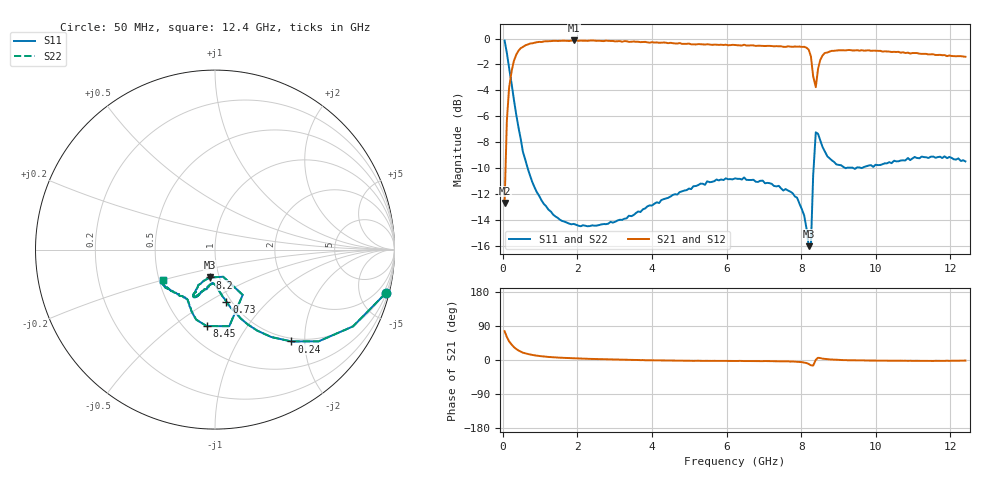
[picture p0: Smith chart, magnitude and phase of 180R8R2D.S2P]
!  American Technical Ceramics  Date:  3/13/98
!  One Norden Lane
!  Huntington Station,  NY.  11746-2102
!  Tel:  (516) 547-5700  Fax:  (516) 547-5748
!  Part Number  180r8r2d
!  Description: Porcelain, High Q, Low ESR
!  Application: Bypass, Coupling, Timing, Feedback
!  Tuning, Impedance Match, Blocking
# GHZ S DB R 50
! Freq  |S11|  S11 Ph  |S21|  S21 Ph  |S12|  S12 Ph  |S22|  S22 Ph
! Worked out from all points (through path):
!   201 points, 50 MHz to 12.4 GHz, reference 50 ohm
!   highest |S21| = -0.15 dB at 1.9 GHz (marker M1); lowest = -12.7 dB at 50 MHz (marker M2)
!   group delay of S21, straight-line fit = 4.15 ps
!   lowest |S11| = -16.0 dB at 8.2 GHz (marker M3), VSWR 1.37, Z = 45.1 - j14.4 ohm
!   |S11| at or under -10 dB: 666.1 MHz to 8.332 GHz (7.666 GHz wide, 170 % of centre); 9.178 GHz to 9.214 GHz (36 MHz wide, 0.391 % of centre); 9.391 GHz to 9.475 GHz (84 MHz wide, 0.89 % of centre) (the widest 3 of 4)
!   |S22| runs from -16.0 to -0.2 dB; largest |S21 - S12| = 0
!   S11 on the Smith chart (normalised r, x): 50 MHz: 0.59, -7.91; 240 MHz: 0.94, -1.73; 730 MHz: 0.95, -0.60; 8.2 GHz: 0.90, -0.29; 8.45 GHz: 0.64, -0.67; 12.4 GHz: 0.52, -0.20
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0.05  -0.16 -14.3  -12.70 76.0  -12.70 76.0  -0.16 -14.3
0.11  -1.11 -29.1  -6.36 60.7  -6.36 60.7  -1.11 -29.1
0.17  -2.26 -41.5  -3.81 49.1  -3.81 49.1  -2.26 -41.5
0.24  -3.54 -50.3  -2.49 40.5  -2.49 40.5  -3.54 -50.3
0.42  -6.84 -66.4  -0.95 25.3  -0.95 25.3  -6.84 -66.4
0.73  -10.57 -77.7  -0.39 14.5  -0.39 14.5  -10.57 -77.7
1.22  -13.20 -85.8  -0.21 8.1  -0.21 8.1  -13.20 -85.8
1.9  -14.32 -91.2  -0.15 4.3  -0.15 4.3  -14.32 -91.2
2.15  -14.42 -92.7  -0.17 3.6  -0.17 3.6  -14.42 -92.7
4.19  -12.71 -105.6  -0.33 -0.9  -0.33 -0.9  -12.71 -105.6
6.23  -10.80 -113.1  -0.50 -2.6  -0.50 -2.6  -10.80 -113.1
7.77  -11.95 -115.3  -0.64 -4.0  -0.64 -4.0  -11.95 -115.3
8.08  -13.68 -113.0  -0.64 -6.8  -0.64 -6.8  -13.68 -113.0
8.2  -16.04 -100.2  -0.86 -10.5  -0.86 -10.5  -16.04 -100.2
8.26  -16.02 -73.2  -1.38 -14.0  -1.38 -14.0  -16.02 -73.2
8.32  -10.58 -58.5  -2.92 -14.6  -2.92 -14.6  -10.58 -58.5
8.39  -7.25 -79.4  -3.76 0.5  -3.76 0.5  -7.25 -79.4
8.45  -7.36 -96.3  -2.35 5.9  -2.35 5.9  -7.36 -96.3
8.57  -8.37 -108.6  -1.32 3.6  -1.32 3.6  -8.37 -108.6
8.82  -9.41 -114.9  -0.95 1.2  -0.95 1.2  -9.41 -114.9
10.36  -9.55 -135.4  -1.01 -1.9  -1.01 -1.9  -9.55 -135.4
12.4  -9.49 -150.0  -1.41 -1.5  -1.41 -1.5  -9.49 -150.0
